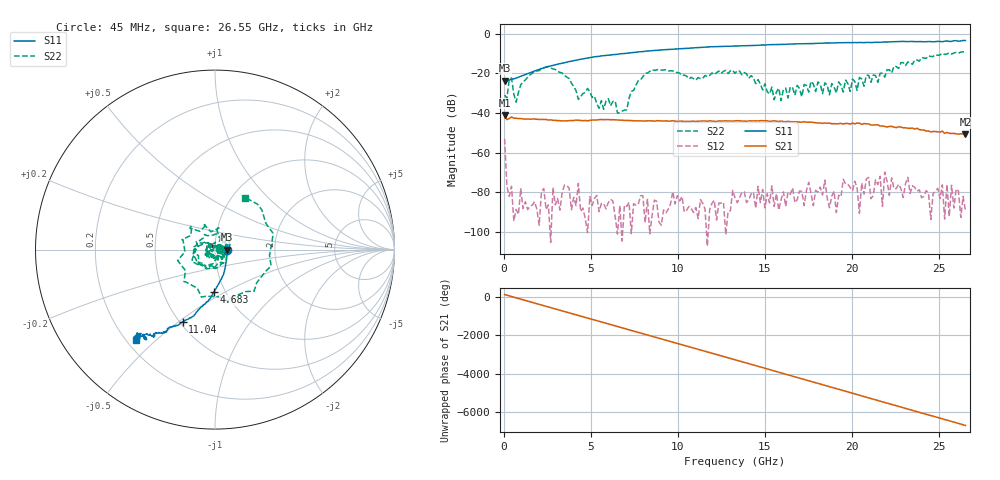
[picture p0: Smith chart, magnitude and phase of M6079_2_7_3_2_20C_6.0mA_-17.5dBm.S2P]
!  2-Port S-parameters saved by WinCal
! VAR MeasName=S-Parameters (CALIBRATED_DATA) read from VNA (C)
! VAR MeasDate=10/5/2015 6:08:00 PM
! VAR NAME=M6079_2_7_3_2_20C_6.0mA_-17.5dBm
! VAR FILENAME=M6079_2_7_3_2_20C_6.0mA_-17.5dBm.S2P
! VAR DATE=10/5/2015 6:08:00 PM
! VAR PHYS_PORTS=2,1
! VAR ObjTypeName=DATASET
! VAR IndexType=Frequency
# Hz S RI R 50
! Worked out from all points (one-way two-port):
!   201 points, 45 MHz to 26.55 GHz, reference 50 ohm
!   highest |S21| = -40.97 dB at 45 MHz (marker M1); lowest = -50.7 dB at 26.55 GHz (marker M2)
!   lowest |S11| = -23.7 dB at 45 MHz (marker M3), VSWR 1.14, Z = 57 - j0.0612 ohm
!   |S11| at or under -10 dB: start of sweep to 6.995 GHz
!   |S22| runs from -40.1 to -9.2 dB; largest |S21 - S12| = 0.011
!   S11 on the Smith chart (normalised r, x): 45 MHz: 1.14, -0.00; 4.683 GHz: 0.88, -0.44; 11.04 GHz: 0.52, -0.52; 26.55 GHz: 0.24, -0.43
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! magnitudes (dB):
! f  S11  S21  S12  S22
! 45 MHz  -23.7  -41.0  -53.0  -31.0
! 177.5 MHz  -23.6  -43.4  -76.8  -32.6
! 310 MHz  -23.4  -42.8  -82.0  -23.3
! 707.5 MHz  -22.5  -42.7  -88.7  -34.6
! 2.43 GHz  -17.0  -43.3  -88.6  -16.9
! 4.55 GHz  -12.7  -43.9  -87.9  -30.3
! 4.683 GHz  -12.5  -43.8  -93.3  -29.7
! 6.67 GHz  -10.2  -43.6  -86.8  -39.8
! 8.922 GHz  -8.3  -43.9  -94.9  -18.0
! 11.04 GHz  -7.1  -44.3  -87.6  -23.5
! 13.29 GHz  -6.3  -44.0  -82.7  -20.0
! 15.55 GHz  -5.6  -43.9  -87.0  -33.3
! 17.8 GHz  -5.1  -44.8  -86.7  -25.4
! 20.98 GHz  -4.5  -45.5  -72.5  -21.0
! 21.25 GHz  -4.5  -46.1  -81.7  -20.9
! 21.64 GHz  -4.4  -46.6  -71.9  -20.0
! 21.77 GHz  -4.3  -46.5  -87.1  -20.0
! 21.91 GHz  -4.3  -46.8  -69.8  -22.0
! 22.17 GHz  -4.2  -46.8  -81.5  -18.3
! 23.23 GHz  -4.1  -47.7  -72.4  -14.3
! 23.36 GHz  -4.0  -47.8  -80.5  -14.6
! 26.55 GHz  -3.5  -50.7  -89.0  -9.5
